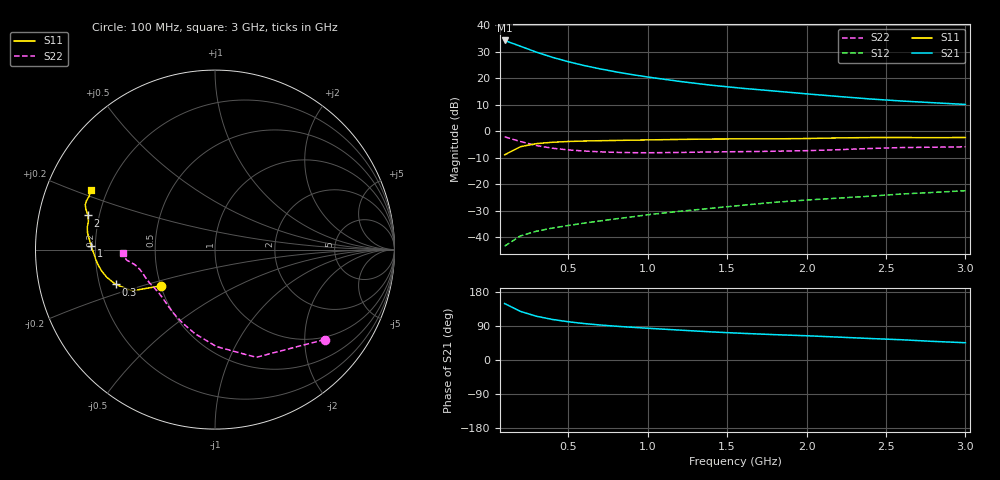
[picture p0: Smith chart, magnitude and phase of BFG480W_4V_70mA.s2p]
! Filename: 470BFG480.001
! Title: BFG480W
! Bias: Vce=4V; Ic=70mA
! Company: Philips Semiconductors NL
! User: Quality&Reliability T&D
! Measure time: 10 Nov 1999 / 12:03:23
#  MHz  S  MA  R 50
! Freq  S11  S21  S12  S22  :
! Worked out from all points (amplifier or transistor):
!   20 points, 100 MHz to 3 GHz, reference 50 ohm
!   highest |S21| = 34.3 dB at 100 MHz (marker M1)
!   |S21| within 3 dB of that: start of sweep to 236.8 MHz
!   unconditionally stable (mu >= 1): 840 MHz to end of sweep
!   at 400 MHz: K = 0.73, MSG = 32.2 dB, |S12| = -36.5 dB
!   at 1.2 GHz: K = 1.06, MAG = 23.0 dB, |S12| = -30.2 dB
!   at 3 GHz: K = 1.05, MAG = 14.9 dB, |S12| = -22.4 dB
!   S11 on the Smith chart (normalised r, x): 100 MHz: 0.50, -0.23; 300 MHz: 0.27, -0.16; 1 GHz: 0.18, +0.02; 2 GHz: 0.16, +0.13; 3 GHz: 0.14, +0.22
100  0.3608 -146.1  51.95 148.9  0.006828 68.5  0.7902 -39.3
200  0.515 -153.5  40.41 128.2  0.0107 58.6  0.6426 -69.1
300  0.5869 -160.7  31.29 115.5  0.01307 56.1  0.5403 -89.2
400  0.6233 -165.8  25.01 107.1  0.01498 57.0  0.4816 -103.4
500  0.6445 -169.7  20.68 100.9  0.01676 58.8  0.4472 -113.9
600  0.6578 -172.8  17.5 96.2  0.01857 60.6  0.4259 -121.8
700  0.6669 -175.5  15.14 92.4  0.02043 62.9  0.4117 -128.0
800  0.6744 -177.8  13.29 89.2  0.0224 64.7  0.4022 -133.2
900  0.6829 -179.9  11.81 86.4  0.02438 66.7  0.3971 -137.7
1000  0.6901 178.1  10.63 83.8  0.02673 68.0  0.3953 -141.7
1200  0.7054 174.9  8.782 78.9  0.03102 70.2  0.4001 -148.2
1400  0.7168 172.4  7.439 74.2  0.03539 71.6  0.4094 -153.1
1600  0.7223 169.9  6.489 70.3  0.04051 72.8  0.4152 -156.8
1800  0.7228 167.3  5.77 66.9  0.04598 73.6  0.4218 -160.7
2000  0.7335 164.9  5.108 63.9  0.05062 74.4  0.4327 -165.2
2200  0.753 162.7  4.561 60.4  0.05506 74.7  0.4516 -169.0
2400  0.7649 160.9  4.09 56.7  0.0599 74.3  0.4759 -171.6
2600  0.766 159.3  3.74 53.4  0.0659 73.9  0.495 -173.1
2800  0.7618 157.0  3.471 49.0  0.07059 72.6  0.5039 -175.0
3000  0.7667 154.3  3.222 45.6  0.07599 72.0  0.5114 -177.9
